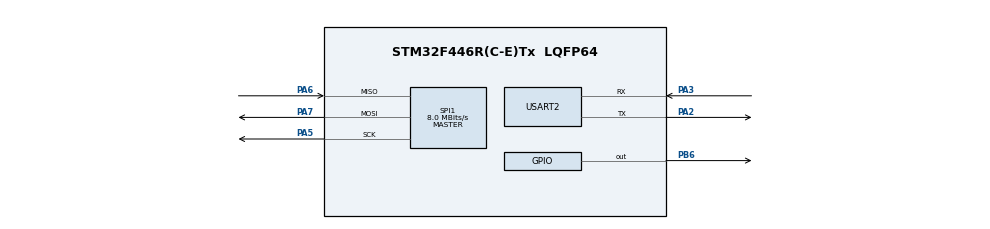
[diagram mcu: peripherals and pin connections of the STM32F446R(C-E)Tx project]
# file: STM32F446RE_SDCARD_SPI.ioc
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Mcu.Family=STM32F4
PA6.Mode=Full_Duplex_Master
PH0-OSC_IN.Signal=RCC_OSC_IN
RCC.CortexFreq_Value=16000000
PA7.Mode=Full_Duplex_Master
FATFS._USE_LFN=0
SPI1.VirtualType=VM_MASTER
ProjectManager.StackSize=0x400
PA13.Signal=SYS_JTMS-SWDIO
PA3.Mode=Asynchronous
ProjectManager.TargetToolchain=STM32CubeIDE
SPI1.Direction=SPI_DIRECTION_2LINES
PB6.Signal=GPIO_Output
SPI1.CalculateBaudRate=8.0 MBits/s
RCC.USBFreq_Value=96000000
PH0-OSC_IN.Mode=HSE-External-Oscillator
VP_FATFS_VS_Generic.Mode=User_defined
PA5.Signal=SPI1_SCK
board=custom
RCC.VCOOutputFreq_Value=192000000
SPI1.Mode=SPI_MODE_MASTER
PA14.Mode=Serial_Wire
PH1-OSC_OUT.Signal=RCC_OSC_OUT
PA13.Mode=Serial_Wire
Mcu.Name=STM32F446R(C-E)Tx
PA2.Signal=USART2_TX
PH1-OSC_OUT.Mode=HSE-External-Oscillator
Mcu.Package=LQFP64
PA6.Signal=SPI1_MISO
USART2.VirtualMode=VM_ASYNC
PA14.Signal=SYS_JTCK-SWCLK
ProjectManager.HeapSize=0x200
NVIC.PriorityGroup=NVIC_PRIORITYGROUP_4
PA2.Mode=Asynchronous
PA3.Signal=USART2_RX
PA5.Mode=Full_Duplex_Master
PA7.Signal=SPI1_MOSI

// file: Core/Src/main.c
/* USER CODE BEGIN Header */
/**
  ******************************************************************************
  * @file           : main.c
  * @brief          : Main program body
  ******************************************************************************
  * @attention
  *
  * <h2><center>&copy; Copyright (c) 2021 STMicroelectronics.
  * All rights reserved.</center></h2>
  *
  * This software component is licensed by ST under BSD 3-Clause license,
  * the "License"; You may not use this file except in compliance with the
  * License. You may obtain a copy of the License at:
  *                        opensource.org/licenses/BSD-3-Clause
  *
  ******************************************************************************
  */
/* USER CODE END Header */
#include "main.h"
#include "fatfs.h"

/* USER CODE BEGIN Includes */
#include "fatfs_sd.h"
#include "string.h"
/* USER CODE END Includes */

SPI_HandleTypeDef hspi1;

UART_HandleTypeDef huart2;

void SystemClock_Config(void);
static void MX_GPIO_Init(void);
static void MX_SPI1_Init(void);
static void MX_USART2_UART_Init(void);

/* USER CODE BEGIN 0 */

FATFS fs; // file system
FIL fil; // file
FRESULT fresult; // to store the result

char buffer[1024]; // to store data

UINT br, bw; // file read/write count

/* capacity related variables */
FATFS *pfs;
DWORD fre_clust;
uint32_t total, free_space;

/* to send the data to uart */
void send_uart (char *string)
{
uint8_t len = strlen (string);
HAL_UART_Transmit(&huart2, (uint8_t *)string, len, 2000); // transmit in blocking mode
}

/* to find the size of data in the buffer */
int bufsize (char *buf)
{
int i=0;
while (*buf++ != '/0') i++;
return i;
}

void bufclear (void) // clear buffer
{
    for (int i=0; i<1024; i++)
    {
    buffer[i] = '\0';
    }
}

/* USER CODE END 0 */

int main(void)
{
  /* USER CODE BEGIN 1 */

   char serialData[] = "Hello World\n";

  /* USER CODE END 1 */

  /* MCU Configuration--------------------------------------------------------*/

  /* Reset of all peripherals, Initializes the Flash interface and the Systick. */
  HAL_Init();

  /* Configure the system clock */
  SystemClock_Config();

  /* Initialize all configured peripherals */
  MX_GPIO_Init();
  MX_SPI1_Init();
  MX_FATFS_Init();
  MX_USART2_UART_Init();
  /* USER CODE BEGIN 2 */

  fresult = f_mount(&fs, "/", 1);
    if (fresult != FR_OK) send_uart ("ERROR!!! in initializing SD CARD...\n\n");
    else send_uart("SD CARD initialized successfully...\n\n");

    /* open file to write/create a file if it is does not exist */
    fresult = f_open(&fil, "file1.txt", FA_OPEN_ALWAYS | FA_READ | FA_WRITE);

    /* writing text */
    fresult = f_puts("This data is from the FIRST FILE\n\n", &fil);

    /*close file */
    fresult = f_close(&fil);

    send_uart ("file1.txt created and the data is written\n");

    /* open file to read */
    fresult = f_open(&fil, "file1.txt", FA_READ);

    /* read string from the file*/
    f_gets(buffer, sizeof(buffer), &fil);

    send_uart(buffer);

    /*close file*/
    f_close(&fil);

    bufclear();

  /* USER CODE END 2 */

  /* Infinite loop */
  while (1)
  {

    /* USER CODE BEGIN 3 */
		HAL_UART_Transmit(&huart2, serialData, sizeof(serialData), 1000);
		HAL_Delay(1000);
  }
  /* USER CODE END 3 */
}

void SystemClock_Config(void)
{
  RCC_OscInitTypeDef RCC_OscInitStruct = {0};
  RCC_ClkInitTypeDef RCC_ClkInitStruct = {0};

  /** Configure the main internal regulator output voltage
  */
  __HAL_RCC_PWR_CLK_ENABLE();
  __HAL_PWR_VOLTAGESCALING_CONFIG(PWR_REGULATOR_VOLTAGE_SCALE3);
  /** Initializes the RCC Oscillators according to the specified parameters
  * in the RCC_OscInitTypeDef structure.
  */
  RCC_OscInitStruct.OscillatorType = RCC_OSCILLATORTYPE_HSI;
  RCC_OscInitStruct.HSIState = RCC_HSI_ON;
  RCC_OscInitStruct.HSICalibrationValue = RCC_HSICALIBRATION_DEFAULT;
  RCC_OscInitStruct.PLL.PLLState = RCC_PLL_NONE;
  if (HAL_RCC_OscConfig(&RCC_OscInitStruct) != HAL_OK)
  {
    Error_Handler();
  }
  /** Initializes the CPU, AHB and APB buses clocks
  */
  RCC_ClkInitStruct.ClockType = RCC_CLOCKTYPE_HCLK|RCC_CLOCKTYPE_SYSCLK
                              |RCC_CLOCKTYPE_PCLK1|RCC_CLOCKTYPE_PCLK2;
  RCC_ClkInitStruct.SYSCLKSource = RCC_SYSCLKSOURCE_HSI;
  RCC_ClkInitStruct.AHBCLKDivider = RCC_SYSCLK_DIV1;
  RCC_ClkInitStruct.APB1CLKDivider = RCC_HCLK_DIV1;
  RCC_ClkInitStruct.APB2CLKDivider = RCC_HCLK_DIV1;

  if (HAL_RCC_ClockConfig(&RCC_ClkInitStruct, FLASH_LATENCY_0) != HAL_OK)
  {
    Error_Handler();
  }
}

static void MX_SPI1_Init(void)
{

  /* SPI1 parameter configuration*/
  hspi1.Instance = SPI1;
  hspi1.Init.Mode = SPI_MODE_MASTER;
  hspi1.Init.Direction = SPI_DIRECTION_2LINES;
  hspi1.Init.DataSize = SPI_DATASIZE_8BIT;
  hspi1.Init.CLKPolarity = SPI_POLARITY_LOW;
  hspi1.Init.CLKPhase = SPI_PHASE_1EDGE;
  hspi1.Init.NSS = SPI_NSS_SOFT;
  hspi1.Init.BaudRatePrescaler = SPI_BAUDRATEPRESCALER_2;
  hspi1.Init.FirstBit = SPI_FIRSTBIT_MSB;
  hspi1.Init.TIMode = SPI_TIMODE_DISABLE;
  hspi1.Init.CRCCalculation = SPI_CRCCALCULATION_DISABLE;
  hspi1.Init.CRCPolynomial = 10;
  if (HAL_SPI_Init(&hspi1) != HAL_OK)
  {
    Error_Handler();
  }

}

static void MX_USART2_UART_Init(void)
{

  huart2.Instance = USART2;
  huart2.Init.BaudRate = 115200;
  huart2.Init.WordLength = UART_WORDLENGTH_8B;
  huart2.Init.StopBits = UART_STOPBITS_1;
  huart2.Init.Parity = UART_PARITY_NONE;
  huart2.Init.Mode = UART_MODE_TX_RX;
  huart2.Init.HwFlowCtl = UART_HWCONTROL_NONE;
  huart2.Init.OverSampling = UART_OVERSAMPLING_16;
  if (HAL_UART_Init(&huart2) != HAL_OK)
  {
    Error_Handler();
  }

}

static void MX_GPIO_Init(void)
{
  GPIO_InitTypeDef GPIO_InitStruct = {0};

  /* GPIO Ports Clock Enable */
  __HAL_RCC_GPIOH_CLK_ENABLE();
  __HAL_RCC_GPIOA_CLK_ENABLE();
  __HAL_RCC_GPIOB_CLK_ENABLE();

  /*Configure GPIO pin Output Level */
  HAL_GPIO_WritePin(GPIOB, GPIO_PIN_6, GPIO_PIN_RESET);

  /*Configure GPIO pin : PB6 */
  GPIO_InitStruct.Pin = GPIO_PIN_6;
  GPIO_InitStruct.Mode = GPIO_MODE_OUTPUT_PP;
  GPIO_InitStruct.Pull = GPIO_NOPULL;
  GPIO_InitStruct.Speed = GPIO_SPEED_FREQ_LOW;
  HAL_GPIO_Init(GPIOB, &GPIO_InitStruct);

}

void Error_Handler(void)
{
  __disable_irq();
  while (1)
  {
  }
}

/************************ (C) COPYRIGHT STMicroelectronics *****END OF FILE****/
